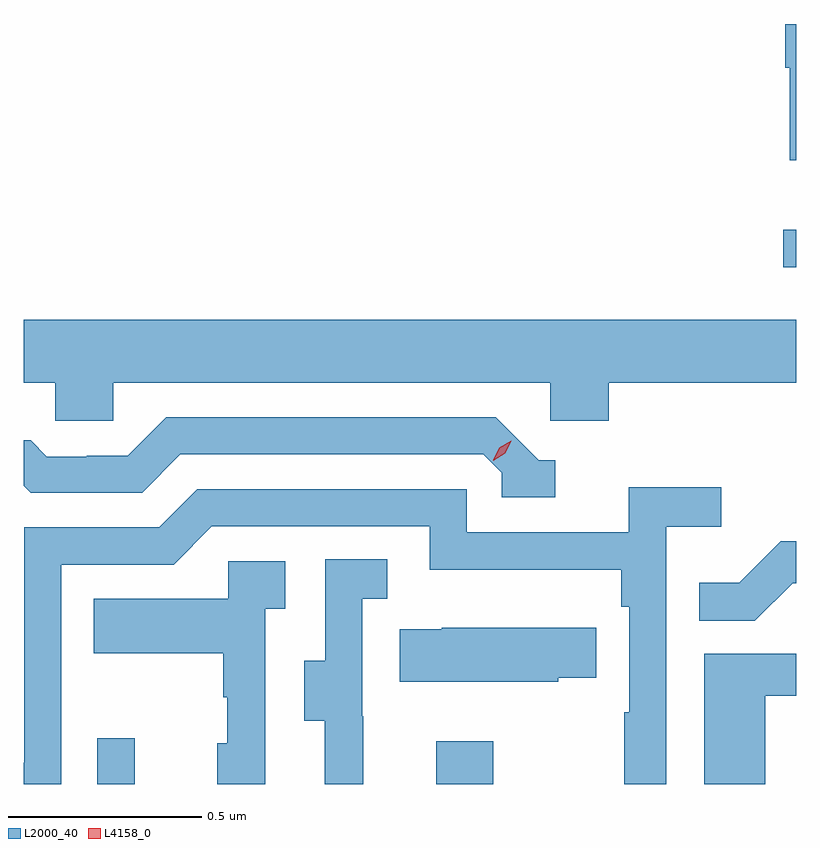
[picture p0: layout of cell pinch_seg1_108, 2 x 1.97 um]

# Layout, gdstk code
import gdstk
lib = gdstk.Library(unit=1e-6, precision=1e-09)
def R(c, l, rs):  # rectangles x0, y0, x1, y1
    for r in rs: c.add(gdstk.rectangle(r[:2], r[2:], *l))
def P(c, l, *ps):  # polygons
    for p in ps: c.add(gdstk.Polygon(p, *l))
L2000_40 = (2000, 40)
L4158_0 = (4158, 0)

pinch_seg1_108 = lib.new_cell('pinch_seg1_108')
R(pinch_seg1_108, L2000_40, [(1059.543,548.03,1059.641,548.149), (1060.421,548.03,1060.569,548.14), (1061.319,549.368,1061.353,549.465)])
P(pinch_seg1_108, L2000_40, [(1061.353,549.997),(1061.324,549.997),(1061.324,549.884),(1061.336,549.884),(1061.336,549.644),(1061.353,549.644)],
  [(1059.585,549.068),(1060.716,549.068),(1060.716,548.97),(1060.868,548.97),(1060.868,549.068),(1061.353,549.068),(1061.353,549.232),(1059.353,549.232),(1059.353,549.068),(1059.435,549.068),(1059.435,548.97),(1059.585,548.97)],
  [(1060.729,548.868),(1060.686,548.868),(1060.575,548.979),(1059.722,548.979),(1059.623,548.88),(1059.516,548.88),(1059.516,548.877),(1059.413,548.877),(1059.371,548.92),(1059.353,548.92),(1059.353,548.802),(1059.371,548.784),(1059.66,548.784),(1059.759,548.883),(1060.542,548.883),(1060.59,548.835),(1060.59,548.772),(1060.729,548.772)],
  [(1059.45,548.598),(1059.741,548.598),(1059.84,548.697),(1060.404,548.697),(1060.404,548.585),(1060.9,548.585),(1060.9,548.489),(1060.92,548.489),(1060.92,548.216),(1060.908,548.216),(1060.908,548.03),(1061.016,548.03),(1061.016,548.696),(1061.158,548.696),(1061.158,548.798),(1060.919,548.798),(1060.919,548.682),(1060.5,548.682),(1060.5,548.793),(1059.803,548.793),(1059.704,548.694),(1059.354,548.694),(1059.354,548.085),(1059.353,548.085),(1059.353,548.03),(1059.45,548.03)],
  [(1061.343,548.55),(1061.353,548.55),(1061.353,548.658),(1061.312,548.658),(1061.205,548.551),(1061.101,548.551),(1061.101,548.452),(1061.245,548.452)],
  [(1060.232,548.205),(1060.23,548.205),(1060.23,548.509),(1060.294,548.509),(1060.294,548.612),(1060.134,548.612),(1060.134,548.349),(1060.079,548.349),(1060.079,548.194),(1060.133,548.194),(1060.133,548.03),(1060.232,548.03)],
  [(1059.978,548.483),(1060.03,548.483),(1060.03,548.607),(1059.882,548.607),(1059.882,548.509),(1059.535,548.509),(1059.535,548.369),(1059.87,548.369),(1059.87,548.255),(1059.88,548.255),(1059.88,548.136),(1059.854,548.136),(1059.854,548.03),(1059.978,548.03)],
  [(1060.737,548.305),(1060.835,548.305),(1060.835,548.434),(1060.435,548.434),(1060.435,548.431),(1060.327,548.431),(1060.327,548.294),(1060.737,548.294)],
  [(1061.272,548.259),(1061.353,548.259),(1061.353,548.367),(1061.114,548.367),(1061.114,548.03),(1061.272,548.03)])
P(pinch_seg1_108, L4158_0, [(1060.568,548.867),(1060.568,548.868),(1060.584,548.9),(1060.615,548.919),(1060.615,548.919),(1060.615,548.919),(1060.599,548.886),(1060.568,548.867)])

lib.write_gds('pinch_seg1_108.gds')
